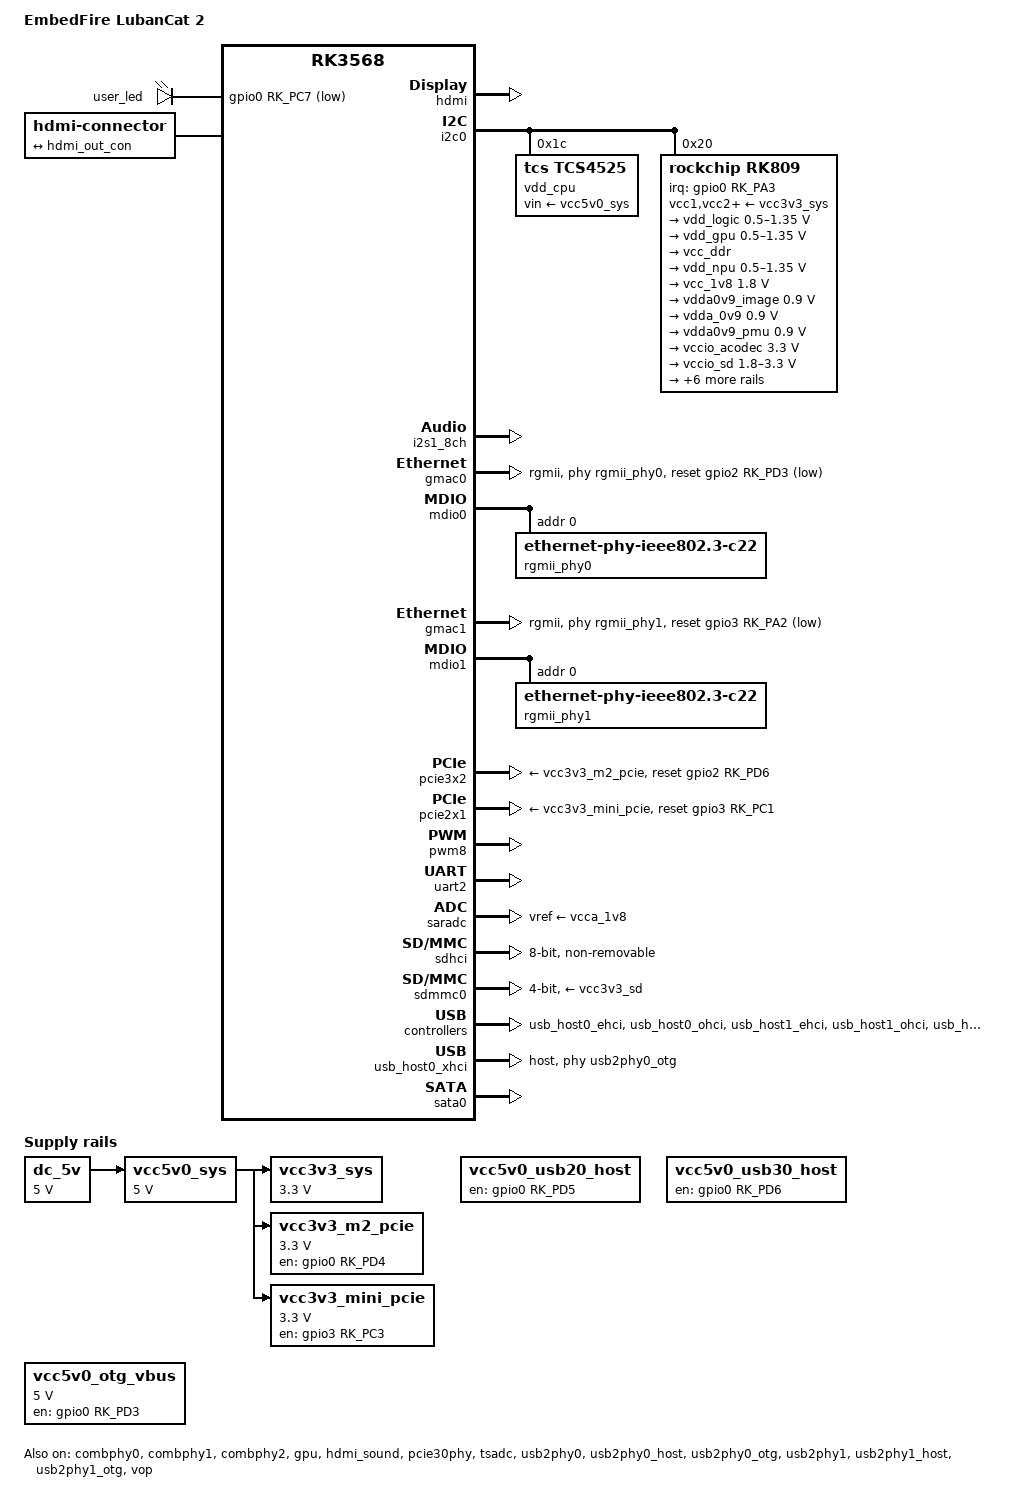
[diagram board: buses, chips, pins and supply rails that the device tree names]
// SPDX-License-Identifier: (GPL-2.0+ OR MIT)

/*
 * Copyright (c) 2021 Rockchip Electronics Co., Ltd.
 * Copyright (c) 2022 EmbedFire <embedfire@embedfire.com>
 */

/dts-v1/;
#include <dt-bindings/gpio/gpio.h>
#include <dt-bindings/leds/common.h>
#include <dt-bindings/pinctrl/rockchip.h>
#include <dt-bindings/soc/rockchip,vop2.h>
#include "rk3568.dtsi"

/ {
	model = "EmbedFire LubanCat 2";
	compatible = "embedfire,lubancat-2", "rockchip,rk3568";

	aliases {
		ethernet0 = &gmac0;
		ethernet1 = &gmac1;
		mmc0 = &sdmmc0;
		mmc1 = &sdhci;
	};

	chosen: chosen {
		stdout-path = "serial2:1500000n8";
	};

	leds {
		compatible = "gpio-leds";

		user_led: user-led {
			label = "user_led";
			linux,default-trigger = "heartbeat";
			default-state = "on";
			gpios = <&gpio0 RK_PC7 GPIO_ACTIVE_LOW>;
			pinctrl-names = "default";
			pinctrl-0 = <&user_led_pin>;
		};
	};

	hdmi-con {
		compatible = "hdmi-connector";
		type = "a";

		port {
			hdmi_con_in: endpoint {
				remote-endpoint = <&hdmi_out_con>;
			};
		};
	};

	dc_5v: dc-5v-regulator {
		compatible = "regulator-fixed";
		regulator-name = "dc_5v";
		regulator-always-on;
		regulator-boot-on;
		regulator-min-microvolt = <5000000>;
		regulator-max-microvolt = <5000000>;
	};

	vcc3v3_sys: vcc3v3-sys-regulator {
		compatible = "regulator-fixed";
		regulator-name = "vcc3v3_sys";
		regulator-always-on;
		regulator-boot-on;
		regulator-min-microvolt = <3300000>;
		regulator-max-microvolt = <3300000>;
		vin-supply = <&vcc5v0_sys>;
	};

	vcc5v0_sys: vcc5v0-sys-regulator {
		compatible = "regulator-fixed";
		regulator-name = "vcc5v0_sys";
		regulator-always-on;
		regulator-boot-on;
		regulator-min-microvolt = <5000000>;
		regulator-max-microvolt = <5000000>;
		vin-supply = <&dc_5v>;
	};

	vcc3v3_m2_pcie: vcc3v3-m2-pcie-regulator {
		compatible = "regulator-fixed";
		regulator-name = "m2_pcie_3v3";
		enable-active-high;
		regulator-min-microvolt = <3300000>;
		regulator-max-microvolt = <3300000>;
		gpios = <&gpio0 RK_PD4 GPIO_ACTIVE_HIGH>;
		pinctrl-0 = <&vcc3v3_m2_pcie_en>;
		pinctrl-names = "default";
		startup-delay-us = <200000>;
		vin-supply = <&vcc5v0_sys>;
	};

	vcc3v3_mini_pcie: vcc3v3-mini-pcie-regulator {
		compatible = "regulator-fixed";
		regulator-name = "minipcie_3v3";
		enable-active-high;
		regulator-min-microvolt = <3300000>;
		regulator-max-microvolt = <3300000>;
		gpio = <&gpio3 RK_PC3 GPIO_ACTIVE_HIGH>;
		pinctrl-0 = <&vcc3v3_mini_pcie_en>;
		pinctrl-names = "default";
		startup-delay-us = <5000>;
		vin-supply = <&vcc5v0_sys>;
	};

	vcc5v0_usb20_host: vcc5v0-usb20-host-regulator {
		compatible = "regulator-fixed";
		regulator-name = "vcc5v0_usb20_host";
		enable-active-high;
		gpio = <&gpio0 RK_PD5 GPIO_ACTIVE_HIGH>;
		pinctrl-0 = <&vcc5v0_usb20_host_en>;
		pinctrl-names = "default";
	};

	vcc5v0_usb30_host: vcc5v0-usb30-host-regulator {
		compatible = "regulator-fixed";
		regulator-name = "vcc5v0_usb30_host";
		enable-active-high;
		gpio = <&gpio0 RK_PD6 GPIO_ACTIVE_HIGH>;
		pinctrl-0 = <&vcc5v0_usb30_host_en>;
		pinctrl-names = "default";
	};

	vcc5v0_otg_vbus: vcc5v0-otg-vbus-regulator {
		compatible = "regulator-fixed";
		regulator-name = "vcc5v0_otg_vbus";
		enable-active-high;
		regulator-min-microvolt = <5000000>;
		regulator-max-microvolt = <5000000>;
		gpio = <&gpio0 RK_PD3 GPIO_ACTIVE_HIGH>;
		pinctrl-0 = <&vcc5v0_otg_vbus_en>;
		pinctrl-names = "default";
	};
};

&combphy0 {
	status = "okay";
};

&combphy1 {
	status = "okay";
};

&combphy2 {
	status = "okay";
};

&cpu0 {
	cpu-supply = <&vdd_cpu>;
};

&cpu1 {
	cpu-supply = <&vdd_cpu>;
};

&cpu2 {
	cpu-supply = <&vdd_cpu>;
};

&cpu3 {
	cpu-supply = <&vdd_cpu>;
};

&gpu {
	mali-supply = <&vdd_gpu>;
	status = "okay";
};

&hdmi {
	avdd-0v9-supply = <&vdda0v9_image>;
	avdd-1v8-supply = <&vcca1v8_image>;
	status = "okay";
};

&hdmi_in {
	hdmi_in_vp0: endpoint {
		remote-endpoint = <&vp0_out_hdmi>;
	};
};

&hdmi_out {
	hdmi_out_con: endpoint {
		remote-endpoint = <&hdmi_con_in>;
	};
};

&hdmi_sound {
	status = "okay";
};

&i2c0 {
	status = "okay";

	vdd_cpu: regulator@1c {
		compatible = "tcs,tcs4525";
		reg = <0x1c>;
		fcs,suspend-voltage-selector = <1>;
		regulator-name = "vdd_cpu";
		regulator-always-on;
		regulator-boot-on;
		regulator-min-microvolt = <800000>;
		regulator-max-microvolt = <1150000>;
		regulator-ramp-delay = <2300>;
		vin-supply = <&vcc5v0_sys>;

		regulator-state-mem {
			regulator-off-in-suspend;
		};
	};

	rk809: pmic@20 {
		compatible = "rockchip,rk809";
		reg = <0x20>;
		interrupt-parent = <&gpio0>;
		interrupts = <RK_PA3 IRQ_TYPE_LEVEL_LOW>;
		assigned-clocks = <&cru I2S1_MCLKOUT_TX>;
		assigned-clock-parents = <&cru CLK_I2S1_8CH_TX>;
		#clock-cells = <1>;
		clock-names = "mclk";
		clocks = <&cru I2S1_MCLKOUT_TX>;
		pinctrl-names = "default";
		pinctrl-0 = <&pmic_int>;
		rockchip,system-power-controller;
		#sound-dai-cells = <0>;
		vcc1-supply = <&vcc3v3_sys>;
		vcc2-supply = <&vcc3v3_sys>;
		vcc3-supply = <&vcc3v3_sys>;
		vcc4-supply = <&vcc3v3_sys>;
		vcc5-supply = <&vcc3v3_sys>;
		vcc6-supply = <&vcc3v3_sys>;
		vcc7-supply = <&vcc3v3_sys>;
		vcc8-supply = <&vcc3v3_sys>;
		vcc9-supply = <&vcc3v3_sys>;
		wakeup-source;

		regulators {
			vdd_logic: DCDC_REG1 {
				regulator-name = "vdd_logic";
				regulator-always-on;
				regulator-boot-on;
				regulator-min-microvolt = <500000>;
				regulator-max-microvolt = <1350000>;
				regulator-ramp-delay = <6001>;
				regulator-initial-mode = <0x2>;

				regulator-state-mem {
					regulator-off-in-suspend;
				};
			};

			vdd_gpu: DCDC_REG2 {
				regulator-name = "vdd_gpu";
				regulator-always-on;
				regulator-boot-on;
				regulator-min-microvolt = <500000>;
				regulator-max-microvolt = <1350000>;
				regulator-ramp-delay = <6001>;
				regulator-initial-mode = <0x2>;

				regulator-state-mem {
					regulator-off-in-suspend;
				};
			};

			vcc_ddr: DCDC_REG3 {
				regulator-name = "vcc_ddr";
				regulator-always-on;
				regulator-boot-on;
				regulator-initial-mode = <0x2>;

				regulator-state-mem {
					regulator-on-in-suspend;
				};
			};

			vdd_npu: DCDC_REG4 {
				regulator-name = "vdd_npu";
				regulator-always-on;
				regulator-boot-on;
				regulator-min-microvolt = <500000>;
				regulator-max-microvolt = <1350000>;
				regulator-ramp-delay = <6001>;
				regulator-initial-mode = <0x2>;

				regulator-state-mem {
					regulator-off-in-suspend;
				};
			};

			vcc_1v8: DCDC_REG5 {
				regulator-name = "vcc_1v8";
				regulator-always-on;
				regulator-boot-on;
				regulator-min-microvolt = <1800000>;
				regulator-max-microvolt = <1800000>;

				regulator-state-mem {
					regulator-off-in-suspend;
				};
			};

			vdda0v9_image: LDO_REG1 {
				regulator-name = "vdda0v9_image";
				regulator-boot-on;
				regulator-always-on;
				regulator-min-microvolt = <900000>;
				regulator-max-microvolt = <900000>;

				regulator-state-mem {
					regulator-off-in-suspend;
				};
			};

			vdda_0v9: LDO_REG2 {
				regulator-name = "vdda_0v9";
				regulator-always-on;
				regulator-boot-on;
				regulator-min-microvolt = <900000>;
				regulator-max-microvolt = <900000>;

				regulator-state-mem {
					regulator-off-in-suspend;
				};
			};

			vdda0v9_pmu: LDO_REG3 {
				regulator-name = "vdda0v9_pmu";
				regulator-always-on;
				regulator-boot-on;
				regulator-min-microvolt = <900000>;
				regulator-max-microvolt = <900000>;

				regulator-state-mem {
					regulator-on-in-suspend;
					regulator-suspend-microvolt = <900000>;
				};
			};

			vccio_acodec: LDO_REG4 {
				regulator-name = "vccio_acodec";
				regulator-always-on;
				regulator-boot-on;
				regulator-min-microvolt = <3300000>;
				regulator-max-microvolt = <3300000>;

				regulator-state-mem {
					regulator-off-in-suspend;
				};
			};

			vccio_sd: LDO_REG5 {
				regulator-name = "vccio_sd";
				regulator-always-on;
				regulator-boot-on;
				regulator-min-microvolt = <1800000>;
				regulator-max-microvolt = <3300000>;

				regulator-state-mem {
					regulator-off-in-suspend;
				};
			};

			vcc3v3_pmu: LDO_REG6 {
				regulator-name = "vcc3v3_pmu";
				regulator-always-on;
				regulator-boot-on;
				regulator-min-microvolt = <3300000>;
				regulator-max-microvolt = <3300000>;

				regulator-state-mem {
					regulator-on-in-suspend;
					regulator-suspend-microvolt = <3300000>;
				};
			};

			vcca_1v8: LDO_REG7 {
				regulator-name = "vcca_1v8";
				regulator-always-on;
				regulator-boot-on;
				regulator-min-microvolt = <1800000>;
				regulator-max-microvolt = <1800000>;

				regulator-state-mem {
					regulator-off-in-suspend;
				};
			};

			vcca1v8_pmu: LDO_REG8 {
				regulator-name = "vcca1v8_pmu";
				regulator-always-on;
				regulator-boot-on;
				regulator-min-microvolt = <1800000>;
				regulator-max-microvolt = <1800000>;

				regulator-state-mem {
					regulator-on-in-suspend;
					regulator-suspend-microvolt = <1800000>;
				};
			};

			vcca1v8_image: LDO_REG9 {
				regulator-name = "vcca1v8_image";
				regulator-always-on;
				regulator-boot-on;
				regulator-min-microvolt = <1800000>;
				regulator-max-microvolt = <1800000>;

				regulator-state-mem {
					regulator-off-in-suspend;
				};
			};

			vcc_3v3: SWITCH_REG1 {
				regulator-name = "vcc_3v3";
				regulator-always-on;
				regulator-boot-on;

				regulator-state-mem {
					regulator-off-in-suspend;
				};
			};

			vcc3v3_sd: SWITCH_REG2 {
				regulator-name = "vcc3v3_sd";
				regulator-always-on;
				regulator-boot-on;

				regulator-state-mem {
					regulator-off-in-suspend;
				};
			};
		};
	};
};

&i2s1_8ch {
	rockchip,trcm-sync-tx-only;
	status = "okay";
};

&gmac0 {
	phy-mode = "rgmii";
	clock_in_out = "output";

	snps,reset-gpio = <&gpio2 RK_PD3 GPIO_ACTIVE_LOW>;
	snps,reset-active-low;
	/* Reset time is 20ms, 100ms for rtl8211f */
	snps,reset-delays-us = <0 20000 100000>;

	assigned-clocks = <&cru SCLK_GMAC0_RX_TX>, <&cru SCLK_GMAC0>;
	assigned-clock-parents = <&cru SCLK_GMAC0_RGMII_SPEED>, <&cru CLK_MAC0_2TOP>;

	pinctrl-names = "default";
	pinctrl-0 = <&gmac0_miim
		     &gmac0_tx_bus2
		     &gmac0_rx_bus2
		     &gmac0_rgmii_clk
		     &gmac0_rgmii_bus>;

	tx_delay = <0x22>;
	rx_delay = <0x0e>;

	phy-handle = <&rgmii_phy0>;
	status = "okay";
};

&mdio0 {
	rgmii_phy0: phy@0 {
		compatible = "ethernet-phy-ieee802.3-c22";
		reg = <0x0>;
	};
};

&gmac1 {
	phy-mode = "rgmii";
	clock_in_out = "output";

	snps,reset-gpio = <&gpio3 RK_PA2 GPIO_ACTIVE_LOW>;
	snps,reset-active-low;
	/* Reset time is 20ms, 100ms for rtl8211f */
	snps,reset-delays-us = <0 20000 100000>;

	assigned-clocks = <&cru SCLK_GMAC1_RX_TX>, <&cru SCLK_GMAC1>;
	assigned-clock-parents = <&cru SCLK_GMAC1_RGMII_SPEED>, <&cru CLK_MAC1_2TOP>;

	pinctrl-names = "default";
	pinctrl-0 = <&gmac1m1_miim
		     &gmac1m1_tx_bus2
		     &gmac1m1_rx_bus2
		     &gmac1m1_rgmii_clk
		     &gmac1m1_rgmii_bus>;

	tx_delay = <0x21>;
	rx_delay = <0x0e>;

	phy-handle = <&rgmii_phy1>;
	status = "okay";
};

&mdio1 {
	rgmii_phy1: phy@0 {
		compatible = "ethernet-phy-ieee802.3-c22";
		reg = <0x0>;
	};
};

&gic {
	mbi-ranges = <94 31>, <229 31>, <289 31>;
};

&pcie30phy {
	status = "okay";
};

&pcie3x2 {
	reset-gpios = <&gpio2 RK_PD6 GPIO_ACTIVE_HIGH>;
	vpcie3v3-supply = <&vcc3v3_m2_pcie>;
	status = "okay";
};

&pcie2x1 {
	reset-gpios = <&gpio3 RK_PC1 GPIO_ACTIVE_HIGH>;
	vpcie3v3-supply = <&vcc3v3_mini_pcie>;
	status = "okay";
};

&pmu_io_domains {
	pmuio2-supply = <&vcc3v3_pmu>;
	vccio1-supply = <&vccio_acodec>;
	vccio3-supply = <&vccio_sd>;
	vccio4-supply = <&vcc_1v8>;
	vccio5-supply = <&vcc_3v3>;
	vccio6-supply = <&vcc_1v8>;
	vccio7-supply = <&vcc_3v3>;
	status = "okay";
};

&pwm8 {
	status = "okay";
};

&pwm9 {
	status = "disabled";
};

&pwm10 {
	status = "disabled";
};

&pwm14 {
	status = "disabled";
};

&spi3 {
	pinctrl-0 = <&spi3m1_pins>;
	status = "disabled";
};

&uart2 {
	status = "okay";
};

&uart3 {
	pinctrl-names = "default";
	pinctrl-0 = <&uart3m1_xfer>;
	status = "disabled";
};

&saradc {
	vref-supply = <&vcca_1v8>;
	status = "okay";
};

&tsadc {
	rockchip,hw-tshut-mode = <1>;
	rockchip,hw-tshut-polarity = <0>;
	status = "okay";
};

&sdhci {
	assigned-clocks = <&cru BCLK_EMMC>, <&cru TCLK_EMMC>, <&cru CCLK_EMMC>;
	assigned-clock-rates = <200000000>, <24000000>, <200000000>;
	bus-width = <8>;
	max-frequency = <200000000>;
	mmc-hs200-1_8v;
	non-removable;
	pinctrl-names = "default";
	pinctrl-0 = <&emmc_bus8 &emmc_clk &emmc_cmd>;
	supports-emmc;
	status = "okay";
};

&sdmmc0 {
	max-frequency = <150000000>;
	no-sdio;
	no-mmc;
	bus-width = <4>;
	cap-mmc-highspeed;
	cap-sd-highspeed;
	disable-wp;
	sd-uhs-sdr104;
	vmmc-supply = <&vcc3v3_sd>;
	vqmmc-supply = <&vccio_sd>;
	pinctrl-names = "default";
	pinctrl-0 = <&sdmmc0_bus4 &sdmmc0_clk &sdmmc0_cmd &sdmmc0_det>;
	status = "okay";
};

/* USB OTG/USB Host_1 USB 2.0 Comb */
&usb2phy0 {
	status = "okay";
};

&usb2phy0_host {
	phy-supply = <&vcc5v0_usb30_host>;
	status = "okay";
};

&usb2phy0_otg {
	phy-supply = <&vcc5v0_otg_vbus>;
	status = "okay";
};

&usb_host0_ehci {
	status = "okay";
};

&usb_host0_ohci {
	status = "okay";
};

/* USB Host_2/USB Host_3 USB 2.0 Comb */
&usb2phy1 {
	status = "okay";
};

&usb2phy1_host {
	status = "okay";
};

&usb2phy1_otg {
	phy-supply = <&vcc5v0_usb20_host>;
	status = "okay";
};

&usb_host1_ehci {
	status = "okay";
};

&usb_host1_ohci {
	status = "okay";
};

/* MULTI_PHY0 For SATA0, USB3.0 OTG Only USB2.0 */
&usb_host0_xhci {
	phys = <&usb2phy0_otg>;
	phy-names = "usb2-phy";
	extcon = <&usb2phy0>;
	maximum-speed = "high-speed";
	dr_mode = "host";
	status = "okay";
};

&sata0 {
	status = "okay";
};

/* USB3.0 Host */
&usb_host1_xhci {
	status = "okay";
};

&vop {
	assigned-clocks = <&cru DCLK_VOP0>, <&cru DCLK_VOP1>;
	assigned-clock-parents = <&pmucru PLL_HPLL>, <&cru PLL_VPLL>;
	status = "okay";
};

&vop_mmu {
	status = "okay";
};

&vp0 {
	vp0_out_hdmi: endpoint@ROCKCHIP_VOP2_EP_HDMI0 {
		reg = <ROCKCHIP_VOP2_EP_HDMI0>;
		remote-endpoint = <&hdmi_in_vp0>;
	};
};

&pinctrl {
	leds {
		user_led_pin: user-status-led-pin {
			rockchip,pins = <0 RK_PC7 RK_FUNC_GPIO &pcfg_pull_none>;
		};
	};

	usb {
		vcc5v0_usb20_host_en: vcc5v0-usb20-host-en {
			rockchip,pins = <0 RK_PD5 RK_FUNC_GPIO &pcfg_pull_none>;
		};

		vcc5v0_usb30_host_en: vcc5v0-usb30-host-en {
			rockchip,pins = <0 RK_PD6 RK_FUNC_GPIO &pcfg_pull_none>;
		};

		vcc5v0_otg_vbus_en: vcc5v0-otg-vbus-en {
			rockchip,pins = <0 RK_PD3 RK_FUNC_GPIO &pcfg_pull_none>;
		};
	};

	pcie {
		vcc3v3_m2_pcie_en: vcc3v3-m2-pcie-en {
			rockchip,pins = <0 RK_PD4 RK_FUNC_GPIO &pcfg_pull_none>;
		};

		vcc3v3_mini_pcie_en: vcc3v3-mini-pcie-en {
			rockchip,pins = <3 RK_PC3 RK_FUNC_GPIO &pcfg_pull_none>;
		};
	};

	pmic {
		pmic_int: pmic-int {
			rockchip,pins = <0 RK_PA3 RK_FUNC_GPIO &pcfg_pull_up>;
		};
	};
};
